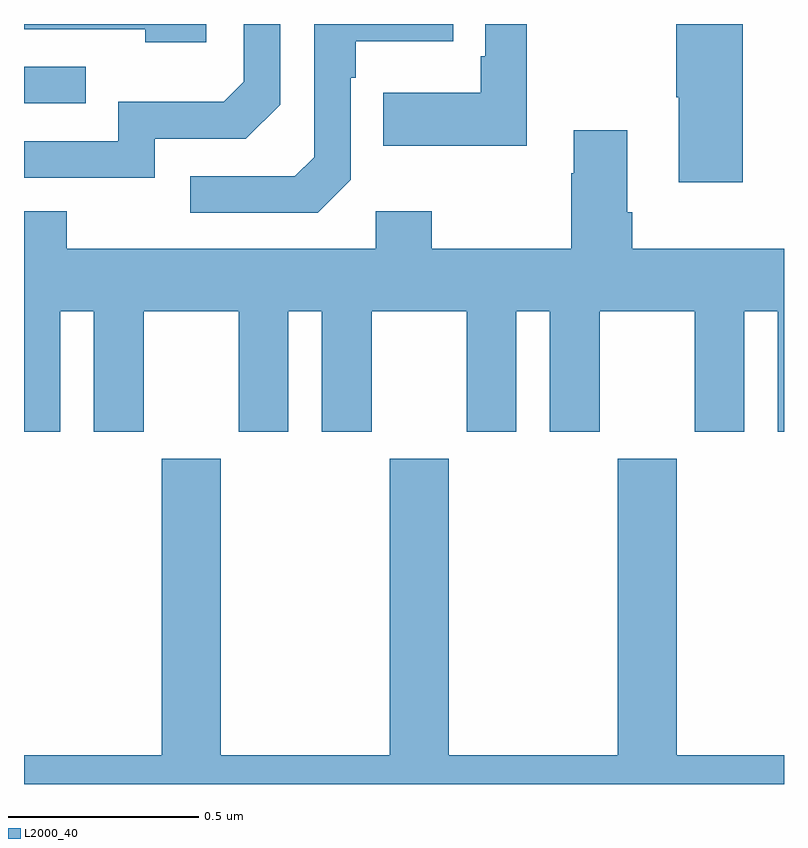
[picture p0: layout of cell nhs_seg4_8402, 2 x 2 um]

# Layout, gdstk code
import gdstk
lib = gdstk.Library(unit=1e-6, precision=1e-09)
def R(c, l, rs):  # rectangles x0, y0, x1, y1
    for r in rs: c.add(gdstk.rectangle(r[:2], r[2:], *l))
def P(c, l, *ps):  # polygons
    for p in ps: c.add(gdstk.Polygon(p, *l))
L2000_40 = (2000, 40)

nhs_seg4_8402 = lib.new_cell('nhs_seg4_8402')
R(nhs_seg4_8402, L2000_40, [(214,806.691,214.163,806.787)])
P(nhs_seg4_8402, L2000_40, [(215.323,806.9),(215.214,806.9),(215.214,806.815),(215.202,806.815),(215.202,806.719),(214.945,806.719),(214.945,806.579),(215.323,806.579)],
  [(214.86,806.49),(214.86,806.759),(214.873,806.759),(214.873,806.855),(215.129,806.855),(215.129,806.9),(214.764,806.9),(214.764,806.55),(214.713,806.499),(214.437,806.499),(214.437,806.403),(214.773,806.403)],
  [(214.344,806.598),(214.584,806.598),(214.674,806.688),(214.674,806.9),(214.578,806.9),(214.578,806.748),(214.525,806.695),(214.248,806.695),(214.248,806.592),(214,806.592),(214,806.496),(214.344,806.496)],
  [(215.891,806.9),(215.716,806.9),(215.716,806.707),(215.723,806.707),(215.723,806.484),(215.891,806.484)],
  [(214.48,806.9),(214,806.9),(214,806.886),(214.319,806.886),(214.319,806.852),(214.48,806.852)],
  [(214.096,806.144),(214.184,806.144),(214.184,805.827),(214.315,805.827),(214.315,806.144),(214.565,806.144),(214.565,805.827),(214.696,805.827),(214.696,806.144),(214.784,806.144),(214.784,805.827),(214.915,805.827),(214.915,806.144),(215.165,806.144),(215.165,805.827),(215.296,805.827),(215.296,806.144),(215.384,806.144),(215.384,805.827),(215.515,805.827),(215.515,806.144),(215.765,806.144),(215.765,805.827),(215.896,805.827),(215.896,806.144),(215.984,806.144),(215.984,805.827),(216,805.827),(216,806.308),(215.6,806.308),(215.6,806.404),(215.587,806.404),(215.587,806.62),(215.447,806.62),(215.447,806.507),(215.44,806.507),(215.44,806.308),(215.073,806.308),(215.073,806.407),(214.926,806.407),(214.926,806.308),(214.113,806.308),(214.113,806.407),(214,806.407),(214,805.827),(214.096,805.827)],
  [(216,804.976),(215.718,804.976),(215.718,805.756),(215.563,805.756),(215.563,804.976),(215.118,804.976),(215.118,805.756),(214.963,805.756),(214.963,804.976),(214.518,804.976),(214.518,805.756),(214.363,805.756),(214.363,804.976),(214,804.976),(214,804.9),(216,804.9)])

lib.write_gds('nhs_seg4_8402.gds')
